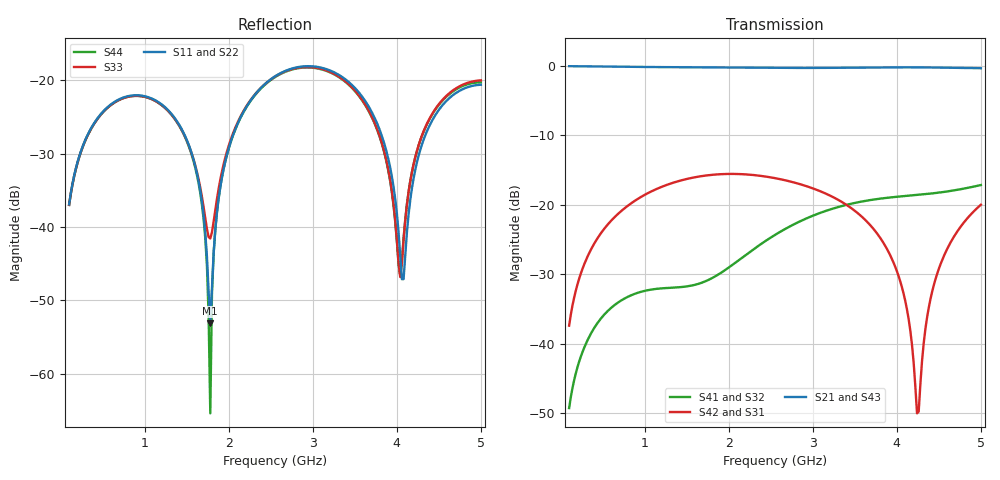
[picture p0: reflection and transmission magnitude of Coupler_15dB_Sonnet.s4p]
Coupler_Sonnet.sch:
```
<Qucs Schematic 25.1.2>
<Properties>
  <View=-286,-34,638,486,2.0603,233,74>
  <Grid=10,10,1>
  <DataSet=Coupler_Sonnet.dat>
  <DataDisplay=Coupler_Sonnet.dpl>
  <OpenDisplay=0>
  <Script=Coupler_Sonnet.m>
  <RunScript=0>
  <showFrame=0>
  <FrameText0=Title>
  <FrameText1=Drawn By:>
  <FrameText2=Date:>
  <FrameText3=Revision:>
</Properties>
<Symbol>
  <.ID -30 114 SUB>
  <.PortSym -100 -20 1 0 P1>
  <.PortSym -100 90 2 0 P2>
  <.PortSym 90 -20 3 180 P3>
  <.PortSym 90 90 4 180 P4>
  <Rectangle -80 -30 70 20 #000000 1 1 #ffaa00 1 1>
  <Rectangle -80 80 70 20 #000000 1 1 #ffaa00 1 1>
  <Rectangle -30 -30 20 130 #000000 1 1 #ffaa00 1 1>
  <Rectangle 0 -30 70 20 #000000 1 1 #ffaa00 1 1>
  <Rectangle 0 80 70 20 #000000 1 1 #ffaa00 1 1>
  <Rectangle 0 -30 20 130 #000000 1 1 #ffaa00 1 1>
  <Line -100 -20 20 0 #000000 1 1>
  <Line -100 90 20 0 #000000 1 1>
  <Line 70 -20 20 0 #000000 1 1>
  <Line 70 90 20 0 #000000 1 1>
  <Text -30 -60 11 #000000 0 "Sonnet">
</Symbol>
<Components>
  <GND * 1 320 190 0 0 1 2>
  <SPfile X1 1 260 190 -260 -26 1 3 "Coupler_15dB_Sonnet.s4p" 1 "rectangular" 0 "linear" 0 "open" 0 "4" 0>
  <Port P1 1 80 90 -23 12 0 0 "1" 1 "analog" 0>
  <Port P2 1 90 300 -23 12 0 0 "2" 1 "analog" 0>
  <Port P3 1 390 90 4 -44 0 2 "3" 1 "analog" 0>
  <Port P4 1 410 300 4 -46 0 2 "4" 1 "analog" 0>
</Components>
<Wires>
  <290 220 290 300 "" 0 0 0 "">
  <290 90 290 160 "" 0 0 0 "">
  <230 90 230 160 "" 0 0 0 "">
  <230 220 230 300 "" 0 0 0 "">
  <80 90 230 90 "" 0 0 0 "">
  <90 300 230 300 "" 0 0 0 "">
  <390 90 290 90 "" 0 0 0 "">
  <410 300 290 300 "" 0 0 0 "">
</Wires>
<Diagrams>
</Diagrams>
<Paintings>
</Paintings>
```
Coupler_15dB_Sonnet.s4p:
! Sonnet Data File
! From: sonnet Version : 18.53-Lite
! From Emgraph Data:
! Data File Written: 06/26/2025 06:00:17
!< HDATE 06/26/2025 05:57:32
!< MDATE 06/26/2025 05:57:32
!< PARAMS
!< Lfeed = 10.0
!< W0 = 1.08
!< Ltrans = 1.27
!< Lcoupled = 22.75
!< Wcoupled = 1.0
!< W0_1 = 1.080008
!< W0_2 = 1.08
!< END PARAMS
# GHZ S MA R 50.00000
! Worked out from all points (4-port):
!   246 points, 100 MHz to 5 GHz, reference 50 ohm
!   strongest paths, dB at 100 MHz, 1.32 GHz, 2.56 GHz, 3.78 GHz, 5 GHz:
!     S21: 0.0, -0.2, -0.3, -0.2, -0.3
!     S43: 0.0, -0.2, -0.3, -0.2, -0.3
!     S42: -37.4, -16.9, -16.2, -24.4, -20.0
!     S31: -37.4, -16.9, -16.2, -24.4, -20.0
!     S41: -49.3, -31.9, -24.3, -19.1, -17.1
!     S32: -49.3, -32.1, -24.4, -19.1, -17.2
!   lowest |S11| = -53.1 dB at 1.78 GHz (marker M1), VSWR 1.00, Z = 49.8 - j0.0535 ohm
!   |S11| at or under -10 dB: start of sweep to end of sweep
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0.1  0.01426 78.3  0.9989 -9.3  0.01349 80.6  0.003436 -102.0
     0.9989 -9.3  0.01426 78.3  0.003436 -102.1  0.01349 80.6
     0.01349 80.6  0.003436 -102.1  0.01415 78.2  0.9989 -9.3
     0.003436 -102.0  0.01349 80.6  0.9989 -9.3  0.01415 78.4
1.78  0.002201 -165.9  0.9794 -162.8  0.1641 -72.7  0.02924 107.9
      0.9794 -162.8  0.006207 -164.7  0.02821 107.2  0.1642 -72.8
      0.1641 -72.7  0.02821 107.2  0.008355 -167.1  0.9794 -162.8
      0.02924 107.9  0.1642 -72.8  0.9794 -162.8  0.0005375 115.8
5  0.09321 -1.4  0.9655 -98.1  0.09963 179.0  0.139 176.6
   0.9655 -98.1  0.09486 3.4  0.1375 175.3  0.1002 179.1
   0.09963 179.0  0.1375 175.3  0.09985 5.2  0.9651 -98.2
   0.139 176.6  0.1002 179.1  0.9651 -98.2  0.09684 -4.2
